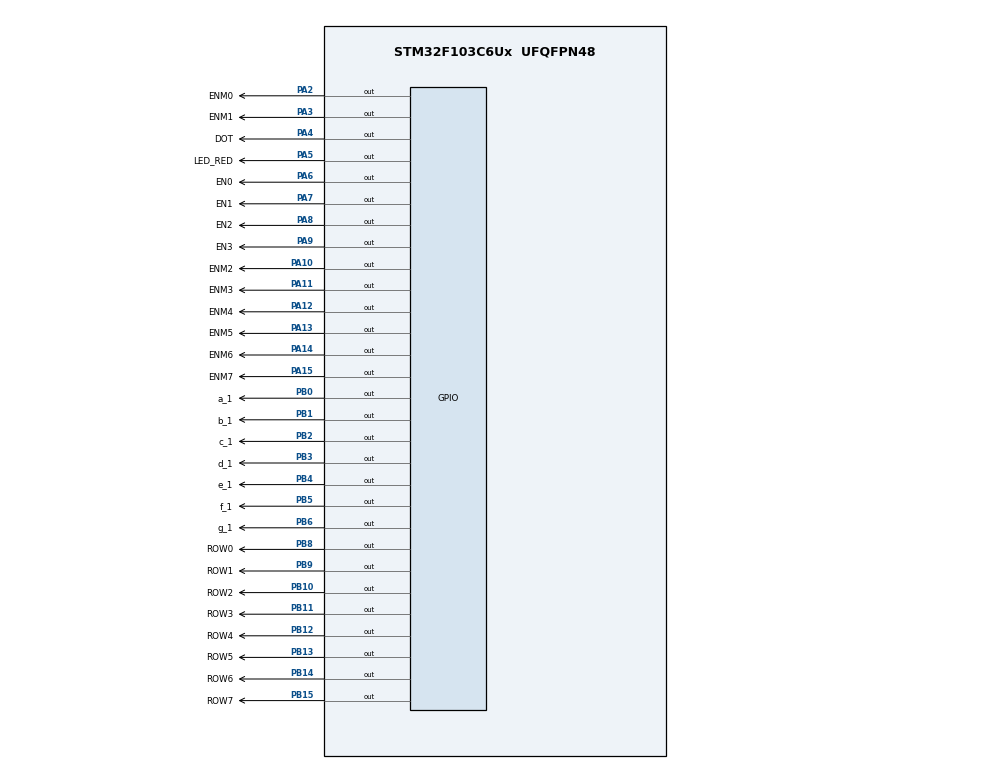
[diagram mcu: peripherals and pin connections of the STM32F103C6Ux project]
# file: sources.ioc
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Mcu.Family=STM32F1
Mcu.Name=STM32F103C6Ux
Mcu.Package=UFQFPN48
NVIC.PriorityGroup=NVIC_PRIORITYGROUP_4
NVIC.TIM2_IRQn=true\:0\:0\:false\:false\:true\:true\:true
PA10.GPIO_Label=ENM2
PA10.Signal=GPIO_Output
PA11.GPIO_Label=ENM3
PA11.Signal=GPIO_Output
PA12.GPIO_Label=ENM4
PA12.Signal=GPIO_Output
PA13.GPIO_Label=ENM5
PA13.Signal=GPIO_Output
PA14.GPIO_Label=ENM6
PA14.Signal=GPIO_Output
PA15.GPIO_Label=ENM7
PA15.Signal=GPIO_Output
PA2.GPIO_Label=ENM0
PA2.Signal=GPIO_Output
PA3.GPIO_Label=ENM1
PA3.Signal=GPIO_Output
PA4.GPIO_Label=DOT
PA4.Signal=GPIO_Output
PA5.GPIO_Label=LED_RED
PA5.Signal=GPIO_Output
PA6.GPIO_Label=EN0
PA6.Signal=GPIO_Output
PA7.GPIO_Label=EN1
PA7.Signal=GPIO_Output
PA8.GPIO_Label=EN2
PA8.Signal=GPIO_Output
PA9.GPIO_Label=EN3
PA9.Signal=GPIO_Output
PB0.GPIO_Label=a_1
PB0.Signal=GPIO_Output
PB1.GPIO_Label=b_1
PB1.Signal=GPIO_Output
PB10.GPIO_Label=ROW2
PB10.Signal=GPIO_Output
PB11.GPIO_Label=ROW3
PB11.Signal=GPIO_Output
PB12.GPIO_Label=ROW4
PB12.Signal=GPIO_Output
PB13.GPIO_Label=ROW5
PB13.Signal=GPIO_Output
PB14.GPIO_Label=ROW6
PB14.Signal=GPIO_Output
PB15.GPIO_Label=ROW7
PB15.Signal=GPIO_Output
PB2.GPIO_Label=c_1
PB2.Signal=GPIO_Output
PB3.GPIO_Label=d_1
PB3.Signal=GPIO_Output
PB4.GPIO_Label=e_1
PB4.Signal=GPIO_Output
PB5.GPIO_Label=f_1
PB5.Signal=GPIO_Output
PB6.GPIO_Label=g_1
PB6.Signal=GPIO_Output
PB8.GPIO_Label=ROW0
PB8.Signal=GPIO_Output
PB9.GPIO_Label=ROW1
PB9.Signal=GPIO_Output
ProjectManager.HeapSize=0x200
ProjectManager.StackSize=0x400
ProjectManager.TargetToolchain=STM32CubeIDE
RCC.APB1Freq_Value=8000000
RCC.APB2Freq_Value=8000000
TIM2.Period=9
TIM2.Prescaler=7999
VP_SYS_VS_ND.Mode=No_Debug
VP_TIM2_VS_ClockSourceINT.Mode=Internal
board=custom

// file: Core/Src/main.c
/* USER CODE BEGIN Header */
/**
  ******************************************************************************
  * @file           : main.c
  * @brief          : Main program body
  ******************************************************************************
  * @attention
  *
  * <h2><center>&copy; Copyright (c) 2022 STMicroelectronics.
  * All rights reserved.</center></h2>
  *
  * This software component is licensed by ST under BSD 3-Clause license,
  * the "License"; You may not use this file except in compliance with the
  * License. You may obtain a copy of the License at:
  *                        opensource.org/licenses/BSD-3-Clause
  *
  ******************************************************************************
  */
/* USER CODE END Header */
#include "main.h"

/* USER CODE BEGIN PD */
#define INIT_COUNTER 50
#define INIT_LED_COUNTER 100
/* USER CODE END PD */

TIM_HandleTypeDef htim2;

void SystemClock_Config(void);
static void MX_GPIO_Init(void);
static void MX_TIM2_Init(void);

/* USER CODE BEGIN 0 */
int led_counter = INIT_LED_COUNTER;
int led_flag = 0;
void reset_led_counter();
void toggle_led_flag();
void display7SEG(int num, GPIO_TypeDef * GPIO_TYPE, uint16_t a_Pin, uint16_t b_Pin, uint16_t c_Pin, uint16_t d_Pin, uint16_t e_Pin, uint16_t f_Pin, uint16_t g_Pin);
int counter = INIT_COUNTER;
void reset_counter();
void seg7led_turn();
void toggle_flag();
int flag = 0;
const int MAX_LED = 4;
int index_led = 0;
int led_buffer[4] = {1 , 2 , 3 , 4};
int led_order = 0;
void update7SEG(int index);
void turn_led(int led);
int hour = 15, minute = 8, second = 50;
void time_update();
void updateClockBuffer();
const int MAX_LED_MATRIX = 8;
int index_led_matrix = 0;
uint8_t matrix_buffer[8] = {0x00, 0x18, 0x24, 0x42, 0x7E, 0x42, 0x42, 0x42};
void updateLEDMatrix(int index);
void turn_on_row(int index);
/* USER CODE END 0 */

int main(void)
{

  /* MCU Configuration--------------------------------------------------------*/

  /* Reset of all peripherals, Initializes the Flash interface and the Systick. */
  HAL_Init();

  /* Configure the system clock */
  SystemClock_Config();

  /* Initialize all configured peripherals */
  MX_GPIO_Init();
  MX_TIM2_Init();
  /* USER CODE BEGIN 2 */
  HAL_TIM_Base_Start_IT (& htim2 );
  /* USER CODE END 2 */

  /* Infinite loop */
  /* USER CODE BEGIN WHILE */
  while (1)
  {
	  if (led_flag == 1) {
		  HAL_GPIO_TogglePin(GPIOA, LED_RED_Pin);
		  HAL_GPIO_TogglePin(GPIOA, DOT_Pin);
		  toggle_led_flag();
	  }
	  if (flag == 1) {
		  toggle_flag();
		  updateLEDMatrix(index_led_matrix);
		  turn_on_row(index_led_matrix);
		  index_led_matrix++;
		  if (index_led_matrix > 7) {
			  index_led_matrix = 0;
		  }
	  }
    /* USER CODE END WHILE */

  }
}

void SystemClock_Config(void)
{
  RCC_OscInitTypeDef RCC_OscInitStruct = {0};
  RCC_ClkInitTypeDef RCC_ClkInitStruct = {0};

  /** Initializes the RCC Oscillators according to the specified parameters
  * in the RCC_OscInitTypeDef structure.
  */
  RCC_OscInitStruct.OscillatorType = RCC_OSCILLATORTYPE_HSI;
  RCC_OscInitStruct.HSIState = RCC_HSI_ON;
  RCC_OscInitStruct.HSICalibrationValue = RCC_HSICALIBRATION_DEFAULT;
  RCC_OscInitStruct.PLL.PLLState = RCC_PLL_NONE;
  if (HAL_RCC_OscConfig(&RCC_OscInitStruct) != HAL_OK)
  {
    Error_Handler();
  }
  /** Initializes the CPU, AHB and APB buses clocks
  */
  RCC_ClkInitStruct.ClockType = RCC_CLOCKTYPE_HCLK|RCC_CLOCKTYPE_SYSCLK
                              |RCC_CLOCKTYPE_PCLK1|RCC_CLOCKTYPE_PCLK2;
  RCC_ClkInitStruct.SYSCLKSource = RCC_SYSCLKSOURCE_HSI;
  RCC_ClkInitStruct.AHBCLKDivider = RCC_SYSCLK_DIV1;
  RCC_ClkInitStruct.APB1CLKDivider = RCC_HCLK_DIV1;
  RCC_ClkInitStruct.APB2CLKDivider = RCC_HCLK_DIV1;

  if (HAL_RCC_ClockConfig(&RCC_ClkInitStruct, FLASH_LATENCY_0) != HAL_OK)
  {
    Error_Handler();
  }
}

static void MX_TIM2_Init(void)
{

  TIM_ClockConfigTypeDef sClockSourceConfig = {0};
  TIM_MasterConfigTypeDef sMasterConfig = {0};

  htim2.Instance = TIM2;
  htim2.Init.Prescaler = 7999;
  htim2.Init.CounterMode = TIM_COUNTERMODE_UP;
  htim2.Init.Period = 9;
  htim2.Init.ClockDivision = TIM_CLOCKDIVISION_DIV1;
  htim2.Init.AutoReloadPreload = TIM_AUTORELOAD_PRELOAD_DISABLE;
  if (HAL_TIM_Base_Init(&htim2) != HAL_OK)
  {
    Error_Handler();
  }
  sClockSourceConfig.ClockSource = TIM_CLOCKSOURCE_INTERNAL;
  if (HAL_TIM_ConfigClockSource(&htim2, &sClockSourceConfig) != HAL_OK)
  {
    Error_Handler();
  }
  sMasterConfig.MasterOutputTrigger = TIM_TRGO_RESET;
  sMasterConfig.MasterSlaveMode = TIM_MASTERSLAVEMODE_DISABLE;
  if (HAL_TIMEx_MasterConfigSynchronization(&htim2, &sMasterConfig) != HAL_OK)
  {
    Error_Handler();
  }

}

static void MX_GPIO_Init(void)
{
  GPIO_InitTypeDef GPIO_InitStruct = {0};

  /* GPIO Ports Clock Enable */
  __HAL_RCC_GPIOA_CLK_ENABLE();
  __HAL_RCC_GPIOB_CLK_ENABLE();

  /*Configure GPIO pin Output Level */
  HAL_GPIO_WritePin(GPIOA, ENM0_Pin|ENM1_Pin|DOT_Pin|LED_RED_Pin
                          |EN0_Pin|EN1_Pin|EN2_Pin|EN3_Pin
                          |ENM2_Pin|ENM3_Pin|ENM4_Pin|ENM5_Pin
                          |ENM6_Pin|ENM7_Pin, GPIO_PIN_RESET);

  /*Configure GPIO pin Output Level */
  HAL_GPIO_WritePin(GPIOB, a_1_Pin|b_1_Pin|c_1_Pin|ROW2_Pin
                          |ROW3_Pin|ROW4_Pin|ROW5_Pin|ROW6_Pin
                          |ROW7_Pin|d_1_Pin|e_1_Pin|f_1_Pin
                          |g_1_Pin|ROW0_Pin|ROW1_Pin, GPIO_PIN_RESET);

  /*Configure GPIO pins : ENM0_Pin ENM1_Pin DOT_Pin LED_RED_Pin
                           EN0_Pin EN1_Pin EN2_Pin EN3_Pin
                           ENM2_Pin ENM3_Pin ENM4_Pin ENM5_Pin
                           ENM6_Pin ENM7_Pin */
  GPIO_InitStruct.Pin = ENM0_Pin|ENM1_Pin|DOT_Pin|LED_RED_Pin
                          |EN0_Pin|EN1_Pin|EN2_Pin|EN3_Pin
                          |ENM2_Pin|ENM3_Pin|ENM4_Pin|ENM5_Pin
                          |ENM6_Pin|ENM7_Pin;
  GPIO_InitStruct.Mode = GPIO_MODE_OUTPUT_PP;
  GPIO_InitStruct.Pull = GPIO_NOPULL;
  GPIO_InitStruct.Speed = GPIO_SPEED_FREQ_LOW;
  HAL_GPIO_Init(GPIOA, &GPIO_InitStruct);

  /*Configure GPIO pins : a_1_Pin b_1_Pin c_1_Pin ROW2_Pin
                           ROW3_Pin ROW4_Pin ROW5_Pin ROW6_Pin
                           ROW7_Pin d_1_Pin e_1_Pin f_1_Pin
                           g_1_Pin ROW0_Pin ROW1_Pin */
  GPIO_InitStruct.Pin = a_1_Pin|b_1_Pin|c_1_Pin|ROW2_Pin
                          |ROW3_Pin|ROW4_Pin|ROW5_Pin|ROW6_Pin
                          |ROW7_Pin|d_1_Pin|e_1_Pin|f_1_Pin
                          |g_1_Pin|ROW0_Pin|ROW1_Pin;
  GPIO_InitStruct.Mode = GPIO_MODE_OUTPUT_PP;
  GPIO_InitStruct.Pull = GPIO_NOPULL;
  GPIO_InitStruct.Speed = GPIO_SPEED_FREQ_LOW;
  HAL_GPIO_Init(GPIOB, &GPIO_InitStruct);

}

/* USER CODE BEGIN 4 */
void reset_led_counter() {
	led_counter = INIT_LED_COUNTER;
}
void toggle_led_flag() {
	if (led_flag == 0) {
		led_flag = 1;
	} else if (led_flag == 1) {
		led_flag = 0;
	}
}
void seg7led_turn() {
	if (led_order == 0) {
		led_order = 1;
	} else if (led_order == 1) {
		led_order = 2;
	} else if (led_order == 2) {
		led_order = 3;
	} else if (led_order == 3) {
		led_order = 0;
	}
}
void toggle_flag() {
	if (flag == 0) {
		flag = 1;
	} else if (flag == 1) {
		flag = 0;
	}
}
void reset_counter() {
	counter = INIT_COUNTER;
}
void update7SEG(int index) {
	switch (index) {
	case 0:
		// Display the first 7 SEG with led_buffer [0]
		turn_led(0);
		display7SEG(led_buffer[0], GPIOB, a_1_Pin, b_1_Pin, c_1_Pin, d_1_Pin, e_1_Pin, f_1_Pin, g_1_Pin);
		break ;
	case 1:
		// Display the second 7 SEG with led_buffer [1]
		turn_led(1);
		display7SEG(led_buffer[1], GPIOB, a_1_Pin, b_1_Pin, c_1_Pin, d_1_Pin, e_1_Pin, f_1_Pin, g_1_Pin);
		break ;
	case 2:
		// Display the third 7 SEG with led_buffer [2]
		turn_led(2);
		display7SEG(led_buffer[2], GPIOB, a_1_Pin, b_1_Pin, c_1_Pin, d_1_Pin, e_1_Pin, f_1_Pin, g_1_Pin);
		break ;
	case 3:
		// Display the forth 7 SEG with led_buffer [3]
		turn_led(3);
		display7SEG(led_buffer[3], GPIOB, a_1_Pin, b_1_Pin, c_1_Pin, d_1_Pin, e_1_Pin, f_1_Pin, g_1_Pin);
		break ;
	default :
		break ;
	}
}
void turn_led(int led) {
	switch (led) {
		case 0:
			  HAL_GPIO_WritePin(GPIOA, EN0_Pin, GPIO_PIN_RESET);
			  HAL_GPIO_WritePin(GPIOA, EN1_Pin, GPIO_PIN_SET);
			  HAL_GPIO_WritePin(GPIOA, EN2_Pin, GPIO_PIN_SET);
			  HAL_GPIO_WritePin(GPIOA, EN3_Pin, GPIO_PIN_SET);
			  break;
		case 1:
			  HAL_GPIO_WritePin(GPIOA, EN0_Pin, GPIO_PIN_SET);
			  HAL_GPIO_WritePin(GPIOA, EN1_Pin, GPIO_PIN_RESET);
			  HAL_GPIO_WritePin(GPIOA, EN2_Pin, GPIO_PIN_SET);
			  HAL_GPIO_WritePin(GPIOA, EN3_Pin, GPIO_PIN_SET);
			  break;
		case 2:
			  HAL_GPIO_WritePin(GPIOA, EN0_Pin, GPIO_PIN_SET);
			  HAL_GPIO_WritePin(GPIOA, EN1_Pin, GPIO_PIN_SET);
			  HAL_GPIO_WritePin(GPIOA, EN2_Pin, GPIO_PIN_RESET);
			  HAL_GPIO_WritePin(GPIOA, EN3_Pin, GPIO_PIN_SET);
			  break;
		case 3:
			  HAL_GPIO_WritePin(GPIOA, EN0_Pin, GPIO_PIN_SET);
			  HAL_GPIO_WritePin(GPIOA, EN1_Pin, GPIO_PIN_SET);
			  HAL_GPIO_WritePin(GPIOA, EN2_Pin, GPIO_PIN_SET);
			  HAL_GPIO_WritePin(GPIOA, EN3_Pin, GPIO_PIN_RESET);
			  break;
	}
}
void time_update() {
	second++;
	if ( second >= 60) {
		second = 0;
		minute ++;
	}
	if( minute >= 60) {
		minute = 0;
		hour ++;
	}
	if( hour >=24) {
		hour = 0;
	}
	updateClockBuffer();
}
void updateClockBuffer() {
	if (hour >= 0 && hour <= 9) {
		led_buffer[0] = 0;
		led_buffer[1] = hour;
	}
	if (hour >= 10 && hour <= 24) {
		led_buffer[0] = hour / 10;
		led_buffer[1] = hour % 10;
	}
	if (minute >= 0 && minute <= 9) {
		led_buffer[2] = 0;
		led_buffer[3] = minute;
	}
	if (hour >= 10 && hour <= 60) {
		led_buffer[2] = minute / 10;
		led_buffer[3] = minute % 10;
	}
}
void HAL_TIM_PeriodElapsedCallback( TIM_HandleTypeDef * htim ) {
	counter--;
	led_counter--;
	if (counter == 0) {
		reset_counter();
		toggle_flag();
	}
	if (led_counter == 0) {
		reset_led_counter();
		toggle_led_flag();
	}
}
void turn_on_row(int index) {
	switch (index) {
	case 0:
		  HAL_GPIO_WritePin(GPIOB, ROW0_Pin, GPIO_PIN_RESET);
		  HAL_GPIO_WritePin(GPIOB, ROW1_Pin, GPIO_PIN_SET);
		  HAL_GPIO_WritePin(GPIOB, ROW2_Pin, GPIO_PIN_SET);
		  HAL_GPIO_WritePin(GPIOB, ROW3_Pin, GPIO_PIN_SET);
		  HAL_GPIO_WritePin(GPIOB, ROW4_Pin, GPIO_PIN_SET);
		  HAL_GPIO_WritePin(GPIOB, ROW5_Pin, GPIO_PIN_SET);
		  HAL_GPIO_WritePin(GPIOB, ROW6_Pin, GPIO_PIN_SET);
		  HAL_GPIO_WritePin(GPIOB, ROW7_Pin, GPIO_PIN_SET);
		break;
	case 1:
		  HAL_GPIO_WritePin(GPIOB, ROW0_Pin, GPIO_PIN_SET);
		  HAL_GPIO_WritePin(GPIOB, ROW1_Pin, GPIO_PIN_RESET);
		  HAL_GPIO_WritePin(GPIOB, ROW2_Pin, GPIO_PIN_SET);
		  HAL_GPIO_WritePin(GPIOB, ROW3_Pin, GPIO_PIN_SET);
		  HAL_GPIO_WritePin(GPIOB, ROW4_Pin, GPIO_PIN_SET);
		  HAL_GPIO_WritePin(GPIOB, ROW5_Pin, GPIO_PIN_SET);
		  HAL_GPIO_WritePin(GPIOB, ROW6_Pin, GPIO_PIN_SET);
		  HAL_GPIO_WritePin(GPIOB, ROW7_Pin, GPIO_PIN_SET);
		break;
	case 2:
		  HAL_GPIO_WritePin(GPIOB, ROW0_Pin, GPIO_PIN_SET);
		  HAL_GPIO_WritePin(GPIOB, ROW1_Pin, GPIO_PIN_SET);
		  HAL_GPIO_WritePin(GPIOB, ROW2_Pin, GPIO_PIN_RESET);
		  HAL_GPIO_WritePin(GPIOB, ROW3_Pin, GPIO_PIN_SET);
		  HAL_GPIO_WritePin(GPIOB, ROW4_Pin, GPIO_PIN_SET);
		  HAL_GPIO_WritePin(GPIOB, ROW5_Pin, GPIO_PIN_SET);
		  HAL_GPIO_WritePin(GPIOB, ROW6_Pin, GPIO_PIN_SET);
		  HAL_GPIO_WritePin(GPIOB, ROW7_Pin, GPIO_PIN_SET);
		break;
	case 3:
		  HAL_GPIO_WritePin(GPIOB, ROW0_Pin, GPIO_PIN_SET);
		  HAL_GPIO_WritePin(GPIOB, ROW1_Pin, GPIO_PIN_SET);
		  HAL_GPIO_WritePin(GPIOB, ROW2_Pin, GPIO_PIN_SET);
		  HAL_GPIO_WritePin(GPIOB, ROW3_Pin, GPIO_PIN_RESET);
		  HAL_GPIO_WritePin(GPIOB, ROW4_Pin, GPIO_PIN_SET);
		  HAL_GPIO_WritePin(GPIOB, ROW5_Pin, GPIO_PIN_SET);
		  HAL_GPIO_WritePin(GPIOB, ROW6_Pin, GPIO_PIN_SET);
		  HAL_GPIO_WritePin(GPIOB, ROW7_Pin, GPIO_PIN_SET);
		break;
	case 4:
		  HAL_GPIO_WritePin(GPIOB, ROW0_Pin, GPIO_PIN_SET);
		  HAL_GPIO_WritePin(GPIOB, ROW1_Pin, GPIO_PIN_SET);
		  HAL_GPIO_WritePin(GPIOB, ROW2_Pin, GPIO_PIN_SET);
		  HAL_GPIO_WritePin(GPIOB, ROW3_Pin, GPIO_PIN_SET);
		  HAL_GPIO_WritePin(GPIOB, ROW4_Pin, GPIO_PIN_RESET);
		  HAL_GPIO_WritePin(GPIOB, ROW5_Pin, GPIO_PIN_SET);
		  HAL_GPIO_WritePin(GPIOB, ROW6_Pin, GPIO_PIN_SET);
		  HAL_GPIO_WritePin(GPIOB, ROW7_Pin, GPIO_PIN_SET);
		break;
	case 5:
		  HAL_GPIO_WritePin(GPIOB, ROW0_Pin, GPIO_PIN_SET);
		  HAL_GPIO_WritePin(GPIOB, ROW1_Pin, GPIO_PIN_SET);
		  HAL_GPIO_WritePin(GPIOB, ROW2_Pin, GPIO_PIN_SET);
		  HAL_GPIO_WritePin(GPIOB, ROW3_Pin, GPIO_PIN_SET);
		  HAL_GPIO_WritePin(GPIOB, ROW4_Pin, GPIO_PIN_SET);
		  HAL_GPIO_WritePin(GPIOB, ROW5_Pin, GPIO_PIN_RESET);
		  HAL_GPIO_WritePin(GPIOB, ROW6_Pin, GPIO_PIN_SET);
		  HAL_GPIO_WritePin(GPIOB, ROW7_Pin, GPIO_PIN_SET);
		break;
	case 6:
		  HAL_GPIO_WritePin(GPIOB, ROW0_Pin, GPIO_PIN_SET);
		  HAL_GPIO_WritePin(GPIOB, ROW1_Pin, GPIO_PIN_SET);
		  HAL_GPIO_WritePin(GPIOB, ROW2_Pin, GPIO_PIN_SET);
		  HAL_GPIO_WritePin(GPIOB, ROW3_Pin, GPIO_PIN_SET);
		  HAL_GPIO_WritePin(GPIOB, ROW4_Pin, GPIO_PIN_SET);
		  HAL_GPIO_WritePin(GPIOB, ROW5_Pin, GPIO_PIN_SET);
		  HAL_GPIO_WritePin(GPIOB, ROW6_Pin, GPIO_PIN_RESET);
		  HAL_GPIO_WritePin(GPIOB, ROW7_Pin, GPIO_PIN_SET);
		break;
	case 7:
		  HAL_GPIO_WritePin(GPIOB, ROW0_Pin, GPIO_PIN_SET);
		  HAL_GPIO_WritePin(GPIOB, ROW1_Pin, GPIO_PIN_SET);
		  HAL_GPIO_WritePin(GPIOB, ROW2_Pin, GPIO_PIN_SET);
		  HAL_GPIO_WritePin(GPIOB, ROW3_Pin, GPIO_PIN_SET);
		  HAL_GPIO_WritePin(GPIOB, ROW4_Pin, GPIO_PIN_SET);
		  HAL_GPIO_WritePin(GPIOB, ROW5_Pin, GPIO_PIN_SET);
		  HAL_GPIO_WritePin(GPIOB, ROW6_Pin, GPIO_PIN_SET);
		  HAL_GPIO_WritePin(GPIOB, ROW7_Pin, GPIO_PIN_RESET);
		break;
	default:
		break;
	}
}
void updateLEDMatrix(int index) {
	HAL_GPIO_WritePin(GPIOA, ENM0_Pin, ((matrix_buffer[index] & 0x80) >> 7) ^ 0x01);
    HAL_GPIO_WritePin(GPIOA, ENM1_Pin, ((matrix_buffer[index] & 0x40) >> 6) ^ 0x01);
    HAL_GPIO_WritePin(GPIOA, ENM2_Pin, ((matrix_buffer[index] & 0x20) >> 5) ^ 0x01);
    HAL_GPIO_WritePin(GPIOA, ENM3_Pin, ((matrix_buffer[index] & 0x10) >> 4) ^ 0x01);
    HAL_GPIO_WritePin(GPIOA, ENM4_Pin, ((matrix_buffer[index] & 0x08) >> 3) ^ 0x01);
    HAL_GPIO_WritePin(GPIOA, ENM5_Pin, ((matrix_buffer[index] & 0x04) >> 2) ^ 0x01);
    HAL_GPIO_WritePin(GPIOA, ENM6_Pin, ((matrix_buffer[index] & 0x02) >> 1) ^ 0x01);
    HAL_GPIO_WritePin(GPIOA, ENM7_Pin, (matrix_buffer[index] & 0x01) ^ 0x01);
}
void display7SEG(int num, GPIO_TypeDef * GPIO_TYPE, uint16_t a_Pin, uint16_t b_Pin, uint16_t c_Pin, uint16_t d_Pin, uint16_t e_Pin, uint16_t f_Pin, uint16_t g_Pin) {
	switch (num){
		case 0:
			HAL_GPIO_WritePin(GPIO_TYPE, a_Pin, GPIO_PIN_RESET);
			HAL_GPIO_WritePin(GPIO_TYPE, b_Pin, GPIO_PIN_RESET);
			HAL_GPIO_WritePin(GPIO_TYPE, c_Pin, GPIO_PIN_RESET);
			HAL_GPIO_WritePin(GPIO_TYPE, d_Pin, GPIO_PIN_RESET);
			HAL_GPIO_WritePin(GPIO_TYPE, e_Pin, GPIO_PIN_RESET);
			HAL_GPIO_WritePin(GPIO_TYPE, f_Pin, GPIO_PIN_RESET);
			HAL_GPIO_WritePin(GPIO_TYPE, g_Pin, GPIO_PIN_SET);
			break;
		case 1:
			HAL_GPIO_WritePin(GPIO_TYPE, a_Pin, GPIO_PIN_SET);
			HAL_GPIO_WritePin(GPIO_TYPE, b_Pin, GPIO_PIN_RESET);
			HAL_GPIO_WritePin(GPIO_TYPE, c_Pin, GPIO_PIN_RESET);
			HAL_GPIO_WritePin(GPIO_TYPE, d_Pin, GPIO_PIN_SET);
			HAL_GPIO_WritePin(GPIO_TYPE, e_Pin, GPIO_PIN_SET);
			HAL_GPIO_WritePin(GPIO_TYPE, f_Pin, GPIO_PIN_SET);
			HAL_GPIO_WritePin(GPIO_TYPE, g_Pin, GPIO_PIN_SET);
			break;
		case 2:
			HAL_GPIO_WritePin(GPIO_TYPE, a_Pin, GPIO_PIN_RESET);
			HAL_GPIO_WritePin(GPIO_TYPE, b_Pin, GPIO_PIN_RESET);
			HAL_GPIO_WritePin(GPIO_TYPE, c_Pin, GPIO_PIN_SET);
			HAL_GPIO_WritePin(GPIO_TYPE, d_Pin, GPIO_PIN_RESET);
			HAL_GPIO_WritePin(GPIO_TYPE, e_Pin, GPIO_PIN_RESET);
			HAL_GPIO_WritePin(GPIO_TYPE, f_Pin, GPIO_PIN_SET);
			HAL_GPIO_WritePin(GPIO_TYPE, g_Pin, GPIO_PIN_RESET);
			break;
		case 3:
			HAL_GPIO_WritePin(GPIO_TYPE, a_Pin, GPIO_PIN_RESET);
			HAL_GPIO_WritePin(GPIO_TYPE, b_Pin, GPIO_PIN_RESET);
			HAL_GPIO_WritePin(GPIO_TYPE, c_Pin, GPIO_PIN_RESET);
			HAL_GPIO_WritePin(GPIO_TYPE, d_Pin, GPIO_PIN_RESET);
			HAL_GPIO_WritePin(GPIO_TYPE, e_Pin, GPIO_PIN_SET);
			HAL_GPIO_WritePin(GPIO_TYPE, f_Pin, GPIO_PIN_SET);
			HAL_GPIO_WritePin(GPIO_TYPE, g_Pin, GPIO_PIN_RESET);
			break;
		case 4:
			HAL_GPIO_WritePin(GPIO_TYPE, a_Pin, GPIO_PIN_SET);
			HAL_GPIO_WritePin(GPIO_TYPE, b_Pin, GPIO_PIN_RESET);
			HAL_GPIO_WritePin(GPIO_TYPE, c_Pin, GPIO_PIN_RESET);
			HAL_GPIO_WritePin(GPIO_TYPE, d_Pin, GPIO_PIN_SET);
			HAL_GPIO_WritePin(GPIO_TYPE, e_Pin, GPIO_PIN_SET);
			HAL_GPIO_WritePin(GPIO_TYPE, f_Pin, GPIO_PIN_RESET);
			HAL_GPIO_WritePin(GPIO_TYPE, g_Pin, GPIO_PIN_RESET);
			break;
		case 5:
			HAL_GPIO_WritePin(GPIO_TYPE, a_Pin, GPIO_PIN_RESET);
			HAL_GPIO_WritePin(GPIO_TYPE, b_Pin, GPIO_PIN_SET);
			HAL_GPIO_WritePin(GPIO_TYPE, c_Pin, GPIO_PIN_RESET);
			HAL_GPIO_WritePin(GPIO_TYPE, d_Pin, GPIO_PIN_RESET);
			HAL_GPIO_WritePin(GPIO_TYPE, e_Pin, GPIO_PIN_SET);
			HAL_GPIO_WritePin(GPIO_TYPE, f_Pin, GPIO_PIN_RESET);
			HAL_GPIO_WritePin(GPIO_TYPE, g_Pin, GPIO_PIN_RESET);
			break;
		case 6:
			HAL_GPIO_WritePin(GPIO_TYPE, a_Pin, GPIO_PIN_RESET);
			HAL_GPIO_WritePin(GPIO_TYPE, b_Pin, GPIO_PIN_SET);
			HAL_GPIO_WritePin(GPIO_TYPE, c_Pin, GPIO_PIN_RESET);
			HAL_GPIO_WritePin(GPIO_TYPE, d_Pin, GPIO_PIN_RESET);
			HAL_GPIO_WritePin(GPIO_TYPE, e_Pin, GPIO_PIN_RESET);
			HAL_GPIO_WritePin(GPIO_TYPE, f_Pin, GPIO_PIN_RESET);
			HAL_GPIO_WritePin(GPIO_TYPE, g_Pin, GPIO_PIN_RESET);
			break;
		case 7:
			HAL_GPIO_WritePin(GPIO_TYPE, a_Pin, GPIO_PIN_RESET);
			HAL_GPIO_WritePin(GPIO_TYPE, b_Pin, GPIO_PIN_RESET);
			HAL_GPIO_WritePin(GPIO_TYPE, c_Pin, GPIO_PIN_RESET);
			HAL_GPIO_WritePin(GPIO_TYPE, d_Pin, GPIO_PIN_SET);
			HAL_GPIO_WritePin(GPIO_TYPE, e_Pin, GPIO_PIN_SET);
			HAL_GPIO_WritePin(GPIO_TYPE, f_Pin, GPIO_PIN_SET);
			HAL_GPIO_WritePin(GPIO_TYPE, g_Pin, GPIO_PIN_SET);
			break;
		case 8:
			HAL_GPIO_WritePin(GPIO_TYPE, a_Pin, GPIO_PIN_RESET);
			HAL_GPIO_WritePin(GPIO_TYPE, b_Pin, GPIO_PIN_RESET);
			HAL_GPIO_WritePin(GPIO_TYPE, c_Pin, GPIO_PIN_RESET);
			HAL_GPIO_WritePin(GPIO_TYPE, d_Pin, GPIO_PIN_RESET);
			HAL_GPIO_WritePin(GPIO_TYPE, e_Pin, GPIO_PIN_RESET);
			HAL_GPIO_WritePin(GPIO_TYPE, f_Pin, GPIO_PIN_RESET);
			HAL_GPIO_WritePin(GPIO_TYPE, g_Pin, GPIO_PIN_RESET);
			break;
		case 9:
			HAL_GPIO_WritePin(GPIO_TYPE, a_Pin, GPIO_PIN_RESET);
			HAL_GPIO_WritePin(GPIO_TYPE, b_Pin, GPIO_PIN_RESET);
			HAL_GPIO_WritePin(GPIO_TYPE, c_Pin, GPIO_PIN_RESET);
			HAL_GPIO_WritePin(GPIO_TYPE, d_Pin, GPIO_PIN_RESET);
			HAL_GPIO_WritePin(GPIO_TYPE, e_Pin, GPIO_PIN_SET);
			HAL_GPIO_WritePin(GPIO_TYPE, f_Pin, GPIO_PIN_RESET);
			HAL_GPIO_WritePin(GPIO_TYPE, g_Pin, GPIO_PIN_RESET);
			break;
		default:
			break;
	}
}
/* USER CODE END 4 */

void Error_Handler(void)
{
  __disable_irq();
  while (1)
  {
  }
}

/************************ (C) COPYRIGHT STMicroelectronics *****END OF FILE****/
